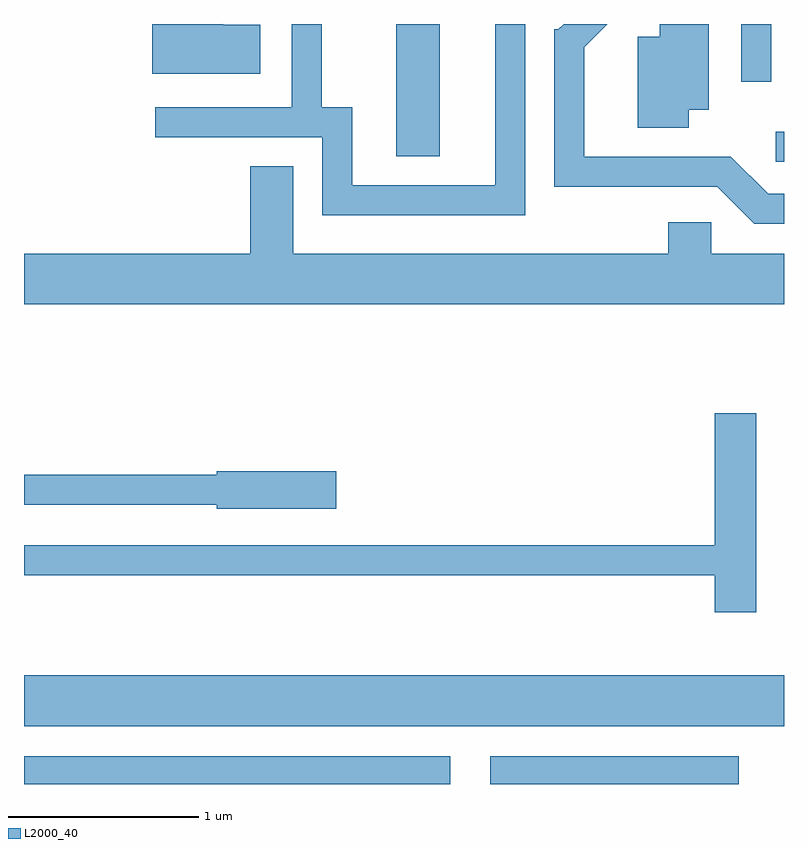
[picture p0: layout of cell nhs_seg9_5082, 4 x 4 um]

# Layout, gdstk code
import gdstk
lib = gdstk.Library(unit=1e-6, precision=1e-09)
def R(c, l, rs):  # rectangles x0, y0, x1, y1
    for r in rs: c.add(gdstk.rectangle(r[:2], r[2:], *l))
def P(c, l, *ps):  # polygons
    for p in ps: c.add(gdstk.Polygon(p, *l))
L2000_40 = (2000, 40)

nhs_seg9_5082 = lib.new_cell('nhs_seg9_5082')
R(nhs_seg9_5082, L2000_40, [(335.611,1960.432,337.854,1960.579), (338.066,1960.432,339.373,1960.579), (335.611,1960.736,339.611,1961.004), (339.568,1963.706,339.611,1963.864), (337.571,1963.736,337.799,1964.432), (339.386,1964.128,339.544,1964.432)])
P(nhs_seg9_5082, L2000_40, [(338.249,1964.432),(338.091,1964.432),(338.091,1963.584),(337.339,1963.584),(337.339,1963.994),(337.179,1963.994),(337.179,1964.432),(337.021,1964.432),(337.021,1963.994),(336.303,1963.994),(336.303,1963.836),(337.181,1963.836),(337.181,1963.426),(338.249,1963.426)],
  [(336.854,1964.429),(336.659,1964.429),(336.659,1964.432),(336.286,1964.432),(336.286,1964.171),(336.854,1964.171)],
  [(339.611,1963.539),(339.527,1963.539),(339.332,1963.734),(338.559,1963.734),(338.559,1964.309),(338.682,1964.432),(338.452,1964.432),(338.424,1964.404),(338.401,1964.404),(338.401,1963.576),(339.259,1963.576),(339.454,1963.381),(339.611,1963.381)],
  [(339.109,1963.981),(339.214,1963.981),(339.214,1964.432),(338.956,1964.432),(338.956,1964.364),(338.841,1964.364),(338.841,1963.886),(339.109,1963.886)],
  [(339.611,1963.224),(339.229,1963.224),(339.229,1963.389),(339.001,1963.389),(339.001,1963.224),(337.029,1963.224),(337.029,1963.684),(336.801,1963.684),(336.801,1963.224),(335.611,1963.224),(335.611,1962.956),(339.611,1962.956)],
  [(339.464,1962.384),(339.246,1962.384),(339.246,1961.689),(335.611,1961.689),(335.611,1961.531),(339.246,1961.531),(339.246,1961.336),(339.464,1961.336)],
  [(337.254,1962.079),(336.626,1962.079),(336.626,1962.059),(335.611,1962.059),(335.611,1961.901),(336.626,1961.901),(336.626,1961.881),(337.254,1961.881)])

lib.write_gds('nhs_seg9_5082.gds')
